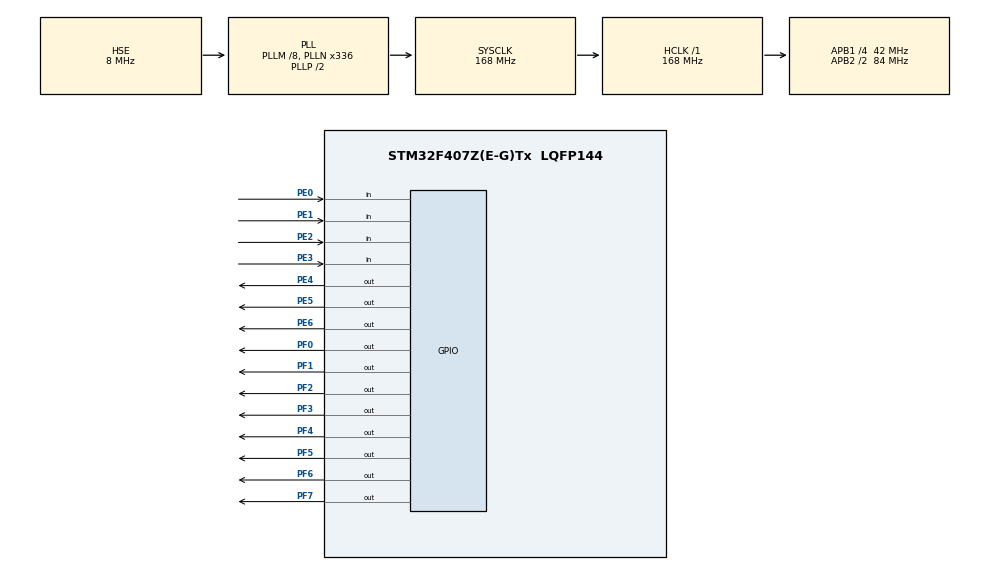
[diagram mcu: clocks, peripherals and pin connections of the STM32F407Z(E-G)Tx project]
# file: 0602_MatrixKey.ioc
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Mcu.Family=STM32F4
Mcu.Name=STM32F407Z(E-G)Tx
Mcu.Package=LQFP144
NVIC.PriorityGroup=NVIC_PRIORITYGROUP_4
PA13.Mode=Serial_Wire
PA13.Signal=SYS_JTMS-SWDIO
PA14.Mode=Serial_Wire
PA14.Signal=SYS_JTCK-SWCLK
PE0.GPIO_PuPd=GPIO_PULLUP
PE0.Signal=GPIO_Input
PE1.GPIO_PuPd=GPIO_PULLUP
PE1.Signal=GPIO_Input
PE2.GPIO_PuPd=GPIO_PULLUP
PE2.Signal=GPIO_Input
PE3.GPIO_PuPd=GPIO_PULLUP
PE3.Signal=GPIO_Input
PE4.GPIO_ModeDefaultOutputPP=GPIO_MODE_OUTPUT_PP
PE4.GPIO_PuPd=GPIO_NOPULL
PE4.PinState=GPIO_PIN_SET
PE4.Signal=GPIO_Output
PE5.PinState=GPIO_PIN_SET
PE5.Signal=GPIO_Output
PE6.PinState=GPIO_PIN_SET
PE6.Signal=GPIO_Output
PF0.PinState=GPIO_PIN_SET
PF0.Signal=GPIO_Output
PF1.PinState=GPIO_PIN_SET
PF1.Signal=GPIO_Output
PF2.PinState=GPIO_PIN_SET
PF2.Signal=GPIO_Output
PF3.PinState=GPIO_PIN_SET
PF3.Signal=GPIO_Output
PF4.PinState=GPIO_PIN_SET
PF4.Signal=GPIO_Output
PF5.PinState=GPIO_PIN_SET
PF5.Signal=GPIO_Output
PF6.PinState=GPIO_PIN_SET
PF6.Signal=GPIO_Output
PF7.PinState=GPIO_PIN_SET
PF7.Signal=GPIO_Output
PH0-OSC_IN.Mode=HSE-External-Oscillator
PH0-OSC_IN.Signal=RCC_OSC_IN
PH1-OSC_OUT.Mode=HSE-External-Oscillator
PH1-OSC_OUT.Signal=RCC_OSC_OUT
ProjectManager.HeapSize=0x200
ProjectManager.StackSize=0x400
ProjectManager.TargetToolchain=STM32CubeIDE
RCC.48MHZClocksFreq_Value=84000000
RCC.AHBFreq_Value=168000000
RCC.APB1CLKDivider=RCC_HCLK_DIV4
RCC.APB1Freq_Value=42000000
RCC.APB1TimFreq_Value=84000000
RCC.APB2CLKDivider=RCC_HCLK_DIV2
RCC.APB2Freq_Value=84000000
RCC.APB2TimFreq_Value=168000000
RCC.CortexFreq_Value=168000000
RCC.HCLKFreq_Value=168000000
RCC.HSE_VALUE=8000000
RCC.HSI_VALUE=16000000
RCC.LSE_VALUE=32768
RCC.PLLM=4
RCC.PLLN=168
RCC.PLLSourceVirtual=RCC_PLLSOURCE_HSE
RCC.SYSCLKFreq_VALUE=168000000
RCC.SYSCLKSource=RCC_SYSCLKSOURCE_PLLCLK
RCC.VCOOutputFreq_Value=336000000
board=custom

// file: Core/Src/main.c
/* USER CODE BEGIN Header */
/**
  ******************************************************************************
  * @file           : main.c
  * @brief          : 0602 MatrixKey 3×4矩阵键盘 → PF口LED输出421‑BCD
  *                 适配 STM32F407，无F1‑RCC错误
  ******************************************************************************
  */
/* USER CODE END Header */
#include "main.h"

/* USER CODE BEGIN PV */
static uint8_t KeyVal = 0;
static const uint8_t PreLine[3] = {2, 0, 1};
/* USER CODE END PV */

void SystemClock_Config(void);
static void MX_GPIO_Init(void);
/* USER CODE BEGIN PFP */
static void MatrixKey_Scan(void);
/* USER CODE END PFP */

/* USER CODE BEGIN 0 */

/**
 * @brief 3×4矩阵键盘扫描，键值输出至PF0‑PF3（421 BCD，LED低亮）
 */
static void MatrixKey_Scan(void)
{
    uint16_t i;
    uint16_t colState;

    for(i = 0; i < 3; i++)
    {
        // 全部行先置高，再把当前行拉低
        GPIOE->ODR |= (1U << 4) | (1U << 5) | (1U << 6);
        GPIOE->ODR &= ~(1U << (4 + i));

        HAL_Delay(5);
        colState = GPIOE->IDR & 0x0FU;

        if(colState != 0x0FU)
        {
            HAL_Delay(16);
            colState = GPIOE->IDR & 0x0FU;
            if(colState != 0x0FU)
            {
                switch(colState)
                {
                    case 0x0E: KeyVal = 4*PreLine[i] + 1; break;
                    case 0x0D: KeyVal = 4*PreLine[i] + 2; break;
                    case 0x0B: KeyVal = 4*PreLine[i] + 3; break;
                    case 0x07: KeyVal = 4*PreLine[i] + 4; break;
                    default: break;
                }
                //松手等待
                while( (GPIOE->IDR & 0x0FU) != 0x0FU );
                HAL_Delay(10);
            }
        }
    }

    // PF4‑PF7保持不变；PF0‑PF3输出BCD，低电平点亮LED
    GPIOF->ODR = (GPIOF->ODR & 0xF0U) | ( ~KeyVal & 0x0FU );
}

/* USER CODE END 0 */

int main(void)
{

  /* MCU Configuration--------------------------------------------------------*/

  /* Reset of all peripherals, Initializes the Flash interface and the Systick. */
  HAL_Init();

  /* Configure the system clock */
  SystemClock_Config();

  /* Initialize all configured peripherals */
  MX_GPIO_Init();

  /* Infinite loop */
  /* USER CODE BEGIN WHILE */
  while (1)
  {
    MatrixKey_Scan();
    /* USER CODE END WHILE */

  }
}

void SystemClock_Config(void)
{
  RCC_OscInitTypeDef RCC_OscInitStruct = {0};
  RCC_ClkInitTypeDef RCC_ClkInitStruct = {0};

  __HAL_RCC_PWR_CLK_ENABLE();
  __HAL_PWR_VOLTAGESCALING_CONFIG(PWR_REGULATOR_VOLTAGE_SCALE1);

  RCC_OscInitStruct.OscillatorType      = RCC_OSCILLATORTYPE_HSE;
  RCC_OscInitStruct.HSEState            = RCC_HSE_ON;
  RCC_OscInitStruct.PLL.PLLState        = RCC_PLL_ON;
  RCC_OscInitStruct.PLL.PLLSource       = RCC_PLLSOURCE_HSE;
  RCC_OscInitStruct.PLL.PLLM            = 8;
  RCC_OscInitStruct.PLL.PLLN            = 336;
  RCC_OscInitStruct.PLL.PLLP           = RCC_PLLP_DIV2;
  RCC_OscInitStruct.PLL.PLLQ            = 7;
  if (HAL_RCC_OscConfig(&RCC_OscInitStruct) != HAL_OK)
  {
    Error_Handler();
  }

  RCC_ClkInitStruct.ClockType           = RCC_CLOCKTYPE_HCLK|RCC_CLOCKTYPE_SYSCLK
                                          |RCC_CLOCKTYPE_PCLK1|RCC_CLOCKTYPE_PCLK2;
  RCC_ClkInitStruct.SYSCLKSource        = RCC_SYSCLKSOURCE_PLLCLK;
  RCC_ClkInitStruct.AHBCLKDivider       = RCC_SYSCLK_DIV1;
  RCC_ClkInitStruct.APB1CLKDivider      = RCC_HCLK_DIV4;
  RCC_ClkInitStruct.APB2CLKDivider      = RCC_HCLK_DIV2;

  if (HAL_RCC_ClockConfig(&RCC_ClkInitStruct, FLASH_LATENCY_5) != HAL_OK)
  {
    Error_Handler();
  }
}

static void MX_GPIO_Init(void)
{
  GPIO_InitTypeDef GPIO_InitStruct = {0};

  __HAL_RCC_GPIOE_CLK_ENABLE();
  __HAL_RCC_GPIOF_CLK_ENABLE();

  // PE0‑PE3 上拉输入
  GPIO_InitStruct.Pin  = GPIO_PIN_0|GPIO_PIN_1|GPIO_PIN_2|GPIO_PIN_3;
  GPIO_InitStruct.Mode = GPIO_MODE_INPUT;
  GPIO_InitStruct.Pull = GPIO_PULLUP;
  HAL_GPIO_Init(GPIOE, &GPIO_InitStruct);

  // PE4‑PE6 推挽输出，初始高
  GPIO_InitStruct.Pin   = GPIO_PIN_4|GPIO_PIN_5|GPIO_PIN_6;
  GPIO_InitStruct.Mode  = GPIO_MODE_OUTPUT_PP;
  GPIO_InitStruct.Pull  = GPIO_NOPULL;
  GPIO_InitStruct.Speed = GPIO_SPEED_FREQ_LOW;
  HAL_GPIO_WritePin(GPIOE, GPIO_PIN_4|GPIO_PIN_5|GPIO_PIN_6, GPIO_PIN_SET);
  HAL_GPIO_Init(GPIOE, &GPIO_InitStruct);

  // PF0‑PF7 推挽输出，初始高
  GPIO_InitStruct.Pin   = GPIO_PIN_0|GPIO_PIN_1|GPIO_PIN_2|GPIO_PIN_3
                        |GPIO_PIN_4|GPIO_PIN_5|GPIO_PIN_6|GPIO_PIN_7;
  GPIO_InitStruct.Mode  = GPIO_MODE_OUTPUT_PP;
  GPIO_InitStruct.Pull  = GPIO_NOPULL;
  GPIO_InitStruct.Speed = GPIO_SPEED_FREQ_LOW;
  HAL_GPIO_WritePin(GPIOF, GPIO_PIN_0|GPIO_PIN_1|GPIO_PIN_2|GPIO_PIN_3
                        |GPIO_PIN_4|GPIO_PIN_5|GPIO_PIN_6|GPIO_PIN_7, GPIO_PIN_SET);
  HAL_GPIO_Init(GPIOF, &GPIO_InitStruct);
}

void Error_Handler(void)
{
  __disable_irq();
  while (1)
  {
  }
}
